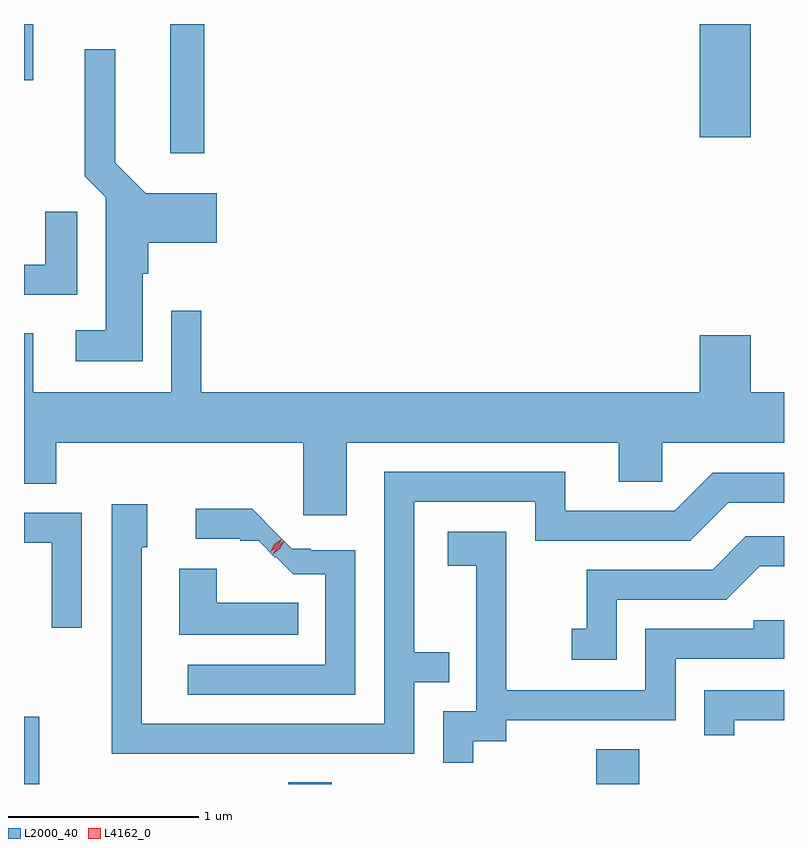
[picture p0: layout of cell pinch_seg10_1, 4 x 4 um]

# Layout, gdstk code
import gdstk
lib = gdstk.Library(unit=1e-6, precision=1e-09)
def R(c, l, rs):  # rectangles x0, y0, x1, y1
    for r in rs: c.add(gdstk.rectangle(r[:2], r[2:], *l))
def P(c, l, *ps):  # polygons
    for p in ps: c.add(gdstk.Polygon(p, *l))
L2000_40 = (2000, 40)
L4162_0 = (4162, 0)

pinch_seg10_1 = lib.new_cell('pinch_seg10_1')
R(pinch_seg10_1, L2000_40, [(1090.64,2203.141,1090.719,2203.494), (1092.031,2203.141,1092.259,2203.149), (1093.651,2203.141,1093.879,2203.324), (1091.411,2206.461,1091.589,2207.141), (1094.196,2206.546,1094.464,2207.141), (1090.64,2206.846,1090.689,2207.141)])
P(pinch_seg10_1, L2000_40, [(1091.264,2205.826),(1091.294,2205.826),(1091.294,2205.991),(1091.654,2205.991),(1091.654,2206.249),(1091.282,2206.249),(1091.119,2206.412),(1091.119,2207.008),(1090.961,2207.008),(1090.961,2206.339),(1091.071,2206.229),(1091.071,2205.529),(1090.913,2205.529),(1090.913,2205.366),(1091.264,2205.366)],
  [(1090.919,2206.153),(1090.751,2206.153),(1090.751,2205.874),(1090.64,2205.874),(1090.64,2205.716),(1090.919,2205.716)],
  [(1092.339,2204.936),(1093.771,2204.936),(1093.771,2204.731),(1093.999,2204.731),(1093.999,2204.936),(1094.64,2204.936),(1094.64,2205.204),(1094.464,2205.204),(1094.464,2205.504),(1094.196,2205.504),(1094.196,2205.204),(1091.574,2205.204),(1091.574,2205.633),(1091.416,2205.633),(1091.416,2205.204),(1090.689,2205.204),(1090.689,2205.514),(1090.64,2205.514),(1090.64,2204.721),(1090.809,2204.721),(1090.809,2204.936),(1092.111,2204.936),(1092.111,2204.556),(1092.339,2204.556)],
  [(1092.694,2203.676),(1092.878,2203.676),(1092.878,2203.834),(1092.694,2203.834),(1092.694,2204.626),(1093.331,2204.626),(1093.331,2204.421),(1094.147,2204.421),(1094.347,2204.621),(1094.64,2204.621),(1094.64,2204.779),(1094.264,2204.779),(1094.064,2204.579),(1093.489,2204.579),(1093.489,2204.784),(1092.536,2204.784),(1092.536,2203.459),(1091.259,2203.459),(1091.259,2204.386),(1091.289,2204.386),(1091.289,2204.614),(1091.101,2204.614),(1091.101,2203.301),(1092.694,2203.301)],
  [(1092.384,2204.37),(1092.149,2204.37),(1092.149,2204.379),(1092.049,2204.379),(1091.907,2204.52),(1091.909,2204.522),(1091.842,2204.589),(1091.543,2204.589),(1091.543,2204.431),(1091.779,2204.431),(1091.779,2204.42),(1091.875,2204.42),(1091.962,2204.333),(1091.966,2204.337),(1092.056,2204.246),(1092.226,2204.246),(1092.226,2203.769),(1091.503,2203.769),(1091.503,2203.611),(1092.384,2203.611)],
  [(1090.944,2204.569),(1090.64,2204.569),(1090.64,2204.411),(1090.786,2204.411),(1090.786,2203.963),(1090.944,2203.963)],
  [(1093.004,2203.366),(1093.179,2203.366),(1093.179,2203.476),(1094.069,2203.476),(1094.069,2203.801),(1094.64,2203.801),(1094.64,2204.004),(1094.481,2204.004),(1094.481,2203.959),(1093.911,2203.959),(1093.911,2203.634),(1093.179,2203.634),(1093.179,2204.469),(1092.871,2204.469),(1092.871,2204.291),(1093.021,2204.291),(1093.021,2203.524),(1092.846,2203.524),(1092.846,2203.253),(1093.004,2203.253)],
  [(1093.759,2204.111),(1094.337,2204.111),(1094.512,2204.286),(1094.64,2204.286),(1094.64,2204.444),(1094.439,2204.444),(1094.264,2204.269),(1093.601,2204.269),(1093.601,2203.959),(1093.523,2203.959),(1093.523,2203.796),(1093.759,2203.796)],
  [(1092.083,2204.094),(1091.654,2204.094),(1091.654,2204.274),(1091.456,2204.274),(1091.456,2203.926),(1092.083,2203.926)],
  [(1094.379,2203.476),(1094.64,2203.476),(1094.64,2203.634),(1094.221,2203.634),(1094.221,2203.398),(1094.379,2203.398)])
P(pinch_seg10_1, L4162_0, [(1091.949,2204.35),(1091.949,2204.35),(1091.972,2204.391),(1092.008,2204.419),(1092.009,2204.419),(1092.009,2204.418),(1091.986,2204.378),(1091.949,2204.35)],
  [(1091.939,2204.365),(1091.939,2204.366),(1091.958,2204.402),(1091.992,2204.426),(1091.993,2204.426),(1091.993,2204.425),(1091.974,2204.389),(1091.94,2204.365)])

lib.write_gds('pinch_seg10_1.gds')
